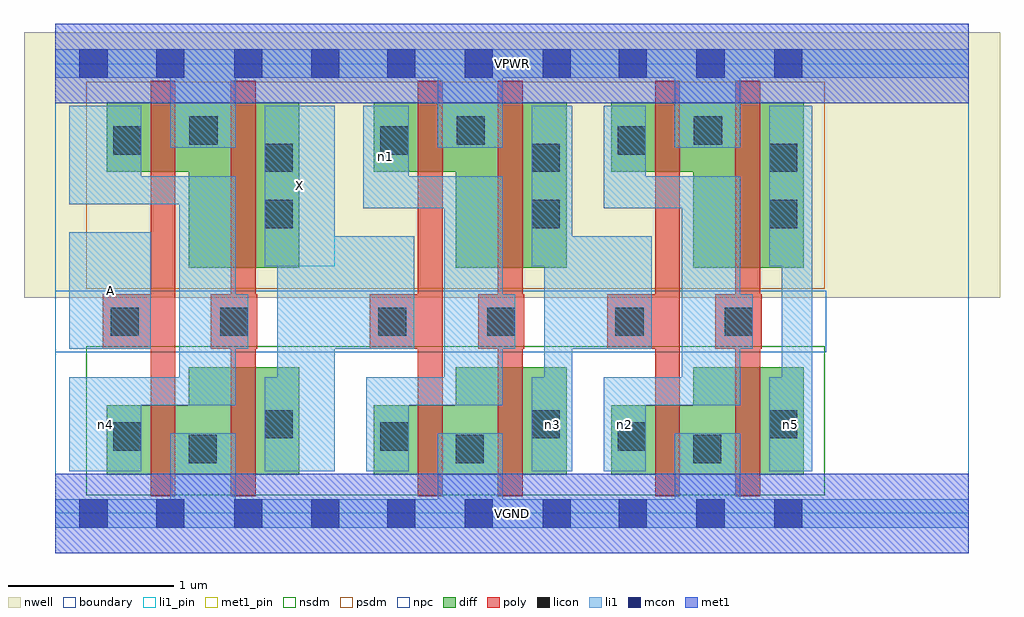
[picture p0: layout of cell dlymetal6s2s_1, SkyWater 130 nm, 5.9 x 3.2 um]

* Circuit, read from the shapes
.subckt dlymetal6s2s_1 A VGND VPWR X n1 n2 n3 n4 n5
XM1 VGND A n4 VSUBS sky130_fd_pr__nfet_01v8 w=0.42 l=0.15
XM2 X n4 VGND VSUBS sky130_fd_pr__nfet_01v8 w=0.65 l=0.15
XM3 VGND X n1 VSUBS sky130_fd_pr__nfet_01v8 w=0.42 l=0.15
XM4 n3 n1 VGND VSUBS sky130_fd_pr__nfet_01v8 w=0.65 l=0.15
XM5 VGND n3 n2 VSUBS sky130_fd_pr__nfet_01v8 w=0.42 l=0.15
XM6 n5 n2 VGND VSUBS sky130_fd_pr__nfet_01v8 w=0.65 l=0.15
XM7 VPWR A n4 n6 sky130_fd_pr__pfet_01v8 w=0.42 l=0.15
XM8 X n4 VPWR n6 sky130_fd_pr__pfet_01v8 w=1 l=0.15
XM9 VPWR X n1 n6 sky130_fd_pr__pfet_01v8 w=0.42 l=0.15
XM10 n3 n1 VPWR n6 sky130_fd_pr__pfet_01v8 w=1 l=0.15
XM11 VPWR n3 n2 n6 sky130_fd_pr__pfet_01v8 w=0.42 l=0.15
XM12 n5 n2 VPWR n6 sky130_fd_pr__pfet_01v8 w=1 l=0.15
.ends

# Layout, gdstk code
import gdstk
lib = gdstk.Library(unit=1e-6, precision=1e-09)
def R(c, l, rs):  # rectangles x0, y0, x1, y1
    for r in rs: c.add(gdstk.rectangle(r[:2], r[2:], *l))
def A(c, l, x, y, w, h, nx, ny, dx, dy):  # array of equal rectangles
    R(c, l, [(x+i*dx, y+j*dy, x+i*dx+w, y+j*dy+h) for i in range(nx) for j in range(ny)])
nwell = (64, 20)
diff = (65, 20)
poly = (66, 20)
licon = (66, 44)
li1_pin = (67, 16)
li1 = (67, 20)
mcon = (67, 44)
met1_pin = (68, 16)
met1 = (68, 20)
nsdm = (93, 44)
psdm = (94, 20)
npc = (95, 20)
boundary = (235, 4)

dlymetal6s2s_1 = lib.new_cell('dlymetal6s2s_1')
R(dlymetal6s2s_1, nwell, [(-0.19,1.305,5.71,2.91), (0,1.305,5.52,2.91)])
R(dlymetal6s2s_1, diff, [(0.31,0.235,1.475,0.655), (0.805,0.235,1.475,0.885), (1.925,0.235,3.09,0.655), (2.42,0.235,3.09,0.885), (3.36,0.235,4.525,0.655), (3.855,0.235,4.525,0.885), (0.805,1.485,1.475,2.485), (2.42,1.485,3.09,2.485), (3.855,1.485,4.525,2.485), (0.31,2.065,1.475,2.485), (1.925,2.065,3.09,2.485), (3.36,2.065,4.525,2.485)])
R(dlymetal6s2s_1, poly, [(0.575,0.105,0.725,2.615), (1.06,0.105,1.21,2.615), (2.19,0.105,2.34,2.615), (2.675,0.105,2.825,2.615), (3.625,0.105,3.775,2.615), (4.11,0.105,4.26,2.615), (0.285,0.995,0.725,1.325), (0.94,0.995,1.22,1.325), (1.9,0.995,2.34,1.325), (2.555,0.995,2.835,1.325), (3.335,0.995,3.775,1.325), (3.99,0.995,4.27,1.325)])
R(dlymetal6s2s_1, licon, [(0.805,0.305,0.975,0.475), (2.42,0.305,2.59,0.475), (3.855,0.305,4.025,0.475), (0.35,0.38,0.52,0.55), (1.965,0.38,2.135,0.55), (3.4,0.38,3.57,0.55), (1.265,0.455,1.435,0.625), (2.88,0.455,3.05,0.625), (4.315,0.455,4.485,0.625), (0.335,1.075,0.505,1.245), (0.995,1.075,1.165,1.245), (1.95,1.075,2.12,1.245), (2.61,1.075,2.78,1.245), (3.385,1.075,3.555,1.245), (4.045,1.075,4.215,1.245), (1.265,1.725,1.435,1.895), (2.88,1.725,3.05,1.895), (4.315,1.725,4.485,1.895), (1.265,2.065,1.435,2.235), (2.88,2.065,3.05,2.235), (4.315,2.065,4.485,2.235), (0.35,2.17,0.52,2.34), (1.965,2.17,2.135,2.34), (3.4,2.17,3.57,2.34), (0.81,2.23,0.98,2.4), (2.425,2.23,2.595,2.4), (3.86,2.23,4.03,2.4)])
R(dlymetal6s2s_1, li1_pin, [(0.085,0.995,0.575,1.7), (1.265,1.495,1.69,2.465)])
R(dlymetal6s2s_1, li1, [(0,-0.085,5.52,0.085), (0.695,-0.085,1.09,0.485), (2.31,-0.085,2.705,0.485), (3.745,-0.085,4.14,0.485), (0.085,0.255,0.52,0.825), (1.265,0.255,1.69,0.825), (1.34,0.255,1.69,2.465), (1.88,0.255,2.135,0.825), (2.88,0.255,3.125,0.825), (2.955,0.255,3.125,2.465), (3.315,0.255,3.57,0.825), (4.315,0.255,4.575,0.825), (4.39,0.255,4.575,2.465), (0.085,0.655,1.09,0.825), (0.75,0.655,1.09,2.04), (1.88,0.655,2.705,0.825), (2.35,0.655,2.705,2.04), (3.315,0.655,4.14,0.825), (3.785,0.655,4.14,2.04), (0.085,0.995,0.575,1.7), (0.75,0.995,1.165,1.325), (1.34,0.995,2.17,1.675), (2.35,0.995,2.78,1.325), (2.955,0.995,3.605,1.675), (3.785,0.995,4.215,1.325), (1.265,1.495,1.69,2.465), (2.88,1.495,3.125,2.465), (4.315,1.495,4.575,2.465), (1.86,1.845,2.135,2.465), (1.86,1.845,2.705,2.04), (3.315,1.845,3.57,2.465), (3.315,1.845,4.14,2.04), (0.085,1.87,1.09,2.04), (0.085,1.87,0.52,2.465), (0.695,2.21,1.09,2.805), (2.31,2.21,2.705,2.805), (3.745,2.21,4.14,2.805), (0,2.635,5.52,2.805)])
A(dlymetal6s2s_1, mcon, 2.005, -0.085, 0.17, 0.17, 3, 2, 0.47, 2.72)
A(dlymetal6s2s_1, mcon, 3.405, -0.085, 0.17, 0.17, 3, 2, 0.47, 2.72)
R(dlymetal6s2s_1, mcon, [(0.145,-0.085,0.315,0.085), (0.61,-0.085,0.78,0.085), (1.08,-0.085,1.25,0.085), (1.545,-0.085,1.715,0.085), (0.145,2.635,0.315,2.805), (0.61,2.635,0.78,2.805), (1.08,2.635,1.25,2.805), (1.545,2.635,1.715,2.805)])
R(dlymetal6s2s_1, met1_pin, [(0,-0.24,5.52,0.24), (0,2.48,5.52,2.96)])
R(dlymetal6s2s_1, met1, [(0,-0.24,5.52,0.24), (0,2.48,5.52,2.96)])
R(dlymetal6s2s_1, nsdm, [(0.185,0.11,4.65,1.01)])
R(dlymetal6s2s_1, psdm, [(0.185,1.36,4.65,2.61)])
R(dlymetal6s2s_1, npc, [(0,0.975,4.66,1.345)])
R(dlymetal6s2s_1, boundary, [(0,0,5.52,2.72)])
dlymetal6s2s_1.add(gdstk.Label('A', (0.33,1.347), layer=67, texttype=5))
dlymetal6s2s_1.add(gdstk.Label('X', (1.477,1.98), layer=67, texttype=5))
dlymetal6s2s_1.add(gdstk.Label('n4', (0.302,0.54), layer=67, texttype=5))
dlymetal6s2s_1.add(gdstk.Label('n1', (1.997,2.155), layer=67, texttype=5))
dlymetal6s2s_1.add(gdstk.Label('n3', (3.002,0.54), layer=67, texttype=5))
dlymetal6s2s_1.add(gdstk.Label('n2', (3.442,0.54), layer=67, texttype=5))
dlymetal6s2s_1.add(gdstk.Label('n5', (4.445,0.54), layer=67, texttype=5))
dlymetal6s2s_1.add(gdstk.Label('VPWR', (2.76,2.72), layer=68, texttype=5))
dlymetal6s2s_1.add(gdstk.Label('VGND', (2.76,0), layer=68, texttype=5))
dlymetal6s2s_1.add(gdstk.Label('A', (0.33,1.347), layer=67, texttype=16))
dlymetal6s2s_1.add(gdstk.Label('X', (1.477,1.98), layer=67, texttype=16))
dlymetal6s2s_1.add(gdstk.Label('VPWR', (2.76,2.72), layer=68, texttype=16))
dlymetal6s2s_1.add(gdstk.Label('VGND', (2.76,0), layer=68, texttype=16))

lib.write_gds('dlymetal6s2s_1.gds')
